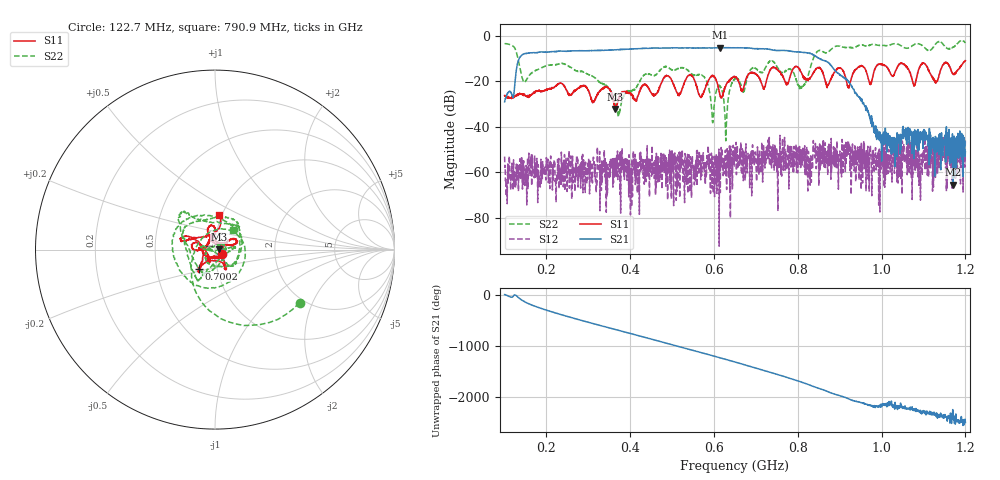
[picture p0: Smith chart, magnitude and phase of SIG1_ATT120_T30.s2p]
# Hz S DB R 50
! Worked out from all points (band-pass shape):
!   1601 points, 100 MHz to 1.2 GHz, reference 50 ohm
!   highest |S21| = -5.26 dB at 613.6 MHz (marker M1); lowest = -65.6 dB at 1.17 GHz (marker M2)
!   |S21| within 3 dB of the highest: 143.6 MHz to 834.6 MHz (691 MHz wide, 141 % of centre); 835.5586 MHz to 835.6885 MHz (130 kHz wide, 0.0156 % of centre)
!   lowest |S11| = -32.3 dB at 364 MHz (marker M3), VSWR 1.05, Z = 52.5 + j0.248 ohm
!   |S11| at or under -10 dB: start of sweep to end of sweep
!   |S22| runs from -46.2 to -2.1 dB; largest |S21 - S12| = 0.55
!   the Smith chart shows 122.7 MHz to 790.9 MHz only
!   S11 on the Smith chart (normalised r, x): 122.7 MHz: 1.08, -0.05; 700.2 MHz: 0.81, -0.18; 790.9 MHz: 0.96, +0.39
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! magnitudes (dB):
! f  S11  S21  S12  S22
! 100 MHz  -26.3  -29.1  -53.2  -3.6
! 122.7 MHz  -26.7  -24.9  -59.8  -5.1
! 147.4 MHz  -25.7  -8.0  -60.2  -20.5
! 283.6 MHz  -22.3  -6.7  -62.7  -15.8
! 364 MHz  -32.3  -6.2  -53.9  -29.5
! 467.1 MHz  -24.4  -5.5  -61.6  -16.0
! 543.4 MHz  -17.1  -5.4  -53.3  -16.3
! 573 MHz  -26.0  -5.4  -53.5  -17.7
! 597.1 MHz  -17.7  -5.4  -53.0  -38.3
! 613.6 MHz  -26.0  -5.3  -59.4  -22.4
! 628.7 MHz  -21.6  -5.4  -55.9  -43.9
! 650 MHz  -18.2  -5.4  -49.1  -19.1
! 700.2 MHz  -17.1  -5.8  -57.7  -14.6
! 790.9 MHz  -14.2  -7.2  -48.7  -16.6
! 808.8 MHz  -16.4  -7.3  -55.7  -23.1
! 833.6 MHz  -17.6  -8.1  -55.2  -11.8
! 900.9 MHz  -14.2  -17.3  -55.2  -4.6
! 920.2 MHz  -22.4  -20.0  -52.2  -5.3
! 947.7 MHz  -13.5  -27.4  -48.8  -4.2
! 1.017 GHz  -15.3  -46.6  -50.0  -4.3
! 1.17 GHz  -16.7  -65.6  -51.6  -5.2
! 1.2 GHz  -11.0  -51.1  -45.2  -3.3
